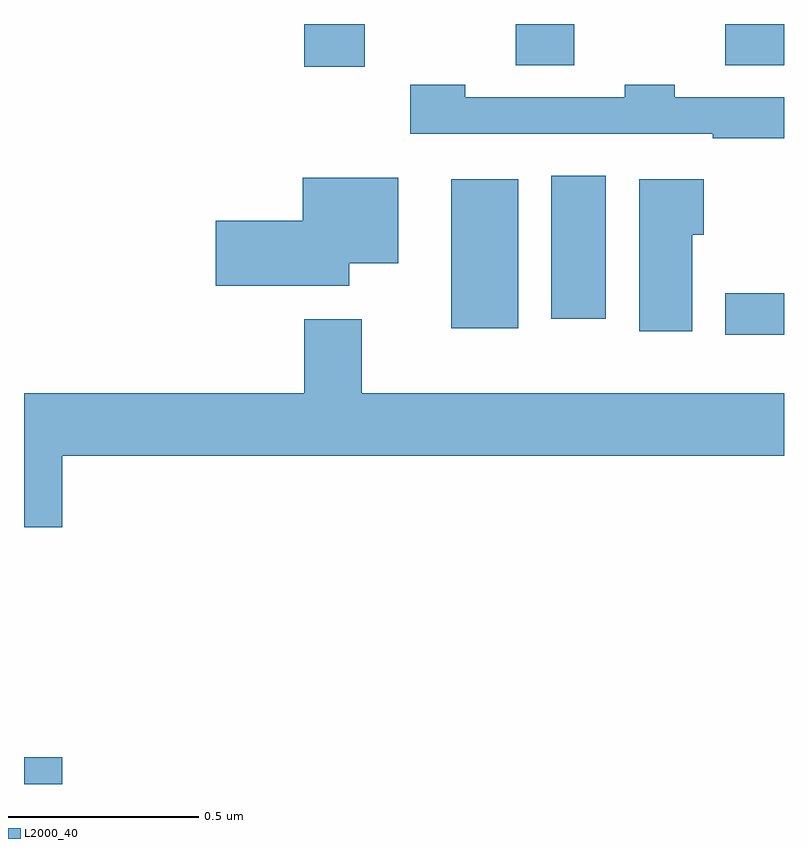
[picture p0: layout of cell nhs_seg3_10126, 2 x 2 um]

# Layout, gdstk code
import gdstk
lib = gdstk.Library(unit=1e-6, precision=1e-09)
def R(c, l, rs):  # rectangles x0, y0, x1, y1
    for r in rs: c.add(gdstk.rectangle(r[:2], r[2:], *l))
def P(c, l, *ps):  # polygons
    for p in ps: c.add(gdstk.Polygon(p, *l))
L2000_40 = (2000, 40)

nhs_seg3_10126 = lib.new_cell('nhs_seg3_10126')
R(nhs_seg3_10126, L2000_40, [(237,685.4,237.1,685.471), (238.845,686.582,239,686.692), (238.124,686.6,238.3,686.992), (238.388,686.625,238.531,687.001), (237.737,687.288,237.897,687.4), (238.294,687.292,238.448,687.4), (238.846,687.292,239,687.4)])
P(nhs_seg3_10126, L2000_40, [(239,687.207),(238.713,687.207),(238.713,687.24),(238.581,687.24),(238.581,687.207),(238.161,687.207),(238.161,687.24),(238.017,687.24),(238.017,687.111),(238.813,687.111),(238.813,687.099),(239,687.099)],
  [(237.856,686.771),(237.985,686.771),(237.985,686.995),(237.734,686.995),(237.734,686.882),(237.504,686.882),(237.504,686.711),(237.856,686.711)],
  [(238.759,686.845),(238.789,686.845),(238.789,686.992),(238.619,686.992),(238.619,686.592),(238.759,686.592)],
  [(237.1,686.264),(239,686.264),(239,686.428),(237.889,686.428),(237.889,686.623),(237.737,686.623),(237.737,686.428),(237,686.428),(237,686.076),(237.1,686.076)])

lib.write_gds('nhs_seg3_10126.gds')
